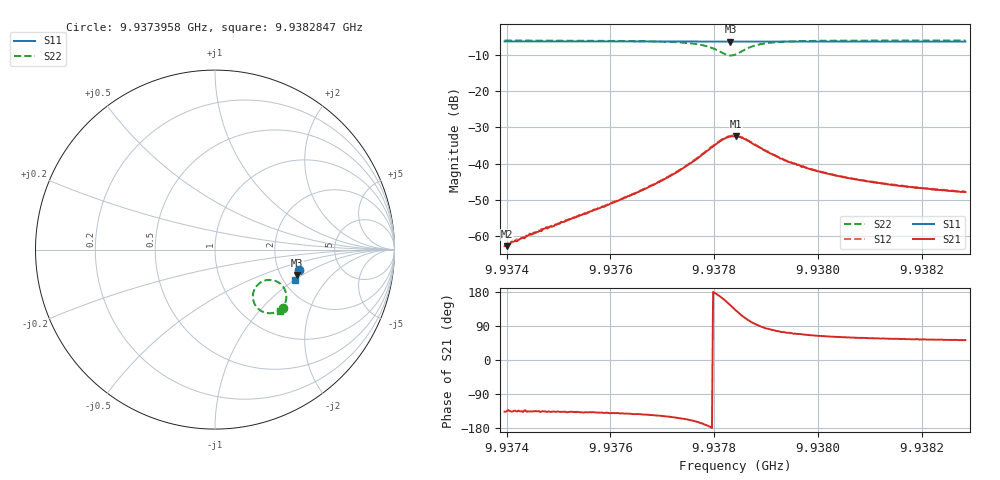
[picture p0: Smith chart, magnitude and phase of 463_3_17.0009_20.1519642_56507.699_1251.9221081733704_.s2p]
#  HZ  S  RI  R  50.00
! Rohde & Schwarz Vector Network Analyzer
! Rohde-Schwarz,ZNB20-2Port,1311601062101988,3.16
! Created: UTC 3/20/2024, 11:12:52 PM
! freq[Hz]  re:S11  im:S11  re:S21  im:S21  re:S12  im:S12  re:S22  im:S22
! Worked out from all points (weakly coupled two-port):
!   401 points, 9.9373958 GHz to 9.9382847 GHz, reference 50 ohm
!   highest |S21| = -32.41 dB at 9.9378425 GHz (marker M1); lowest = -62.7 dB at 9.9374003 GHz (marker M2)
!   lowest |S11| = -6.4 dB at 9.9378314 GHz (marker M3), VSWR 2.84, Z = 122 - j45.1 ohm
!   |S11| at or under -10 dB: nowhere
!   |S22| runs from -10.2 to -6.1 dB; largest |S21 - S12| = 0.0011
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9.93739585e9  0.4694 -0.1149  -0.00053 -0.000505  -0.000549 -0.000513  0.3778 -0.3232
9.93740029e9  0.4692 -0.1151  -0.000514 -0.000518  -0.000554 -0.000563  0.3774 -0.3236
9.93741362e9  0.4689 -0.1161  -0.000586 -0.000607  -0.000626 -0.000588  0.3763 -0.3245
9.93742251e9  0.4687 -0.1166  -0.000612 -0.000647  -0.000661 -0.000628  0.3756 -0.3252
9.93744918e9  0.4681 -0.1184  -0.000772 -0.000754  -0.000769 -0.000736  0.3732 -0.3272
9.93746695e9  0.4679 -0.1196  -0.000841 -0.000819  -0.000902 -0.000885  0.3714 -0.3288
9.93754472e9  0.4659 -0.1248  -0.00147 -0.00131  -0.00147 -0.00129  0.3625 -0.3356
9.93763583e9  0.4638 -0.131  -0.00279 -0.00222  -0.00288 -0.00216  0.346 -0.345
9.9376936e9  0.4624 -0.1347  -0.00463 -0.00305  -0.00481 -0.00302  0.3275 -0.3519
9.93773804e9  0.461 -0.1379  -0.00763 -0.00368  -0.00781 -0.00358  0.3013 -0.3545
9.93778248e9  0.4592 -0.1408  -0.014 -0.00229  -0.0144 -0.00214  0.2503 -0.3374
9.93781359e9  0.4575 -0.1421  -0.0201 0.00523  -0.0204 0.00593  0.2115 -0.2689
9.93783136e9  0.4569 -0.1422  -0.0192 0.0137  -0.0192 0.0145  0.2315 -0.2035
9.93784025e9  0.457 -0.1422  -0.0161 0.0173  -0.016 0.0182  0.2601 -0.1795
9.93784247e9  0.457 -0.1423  -0.0154 0.0184  -0.0152 0.0189  0.2683 -0.1755
9.93786692e9  0.4576 -0.1434  -0.00508 0.0198  -0.0044 0.02  0.3509 -0.1809
9.93789358e9  0.4578 -0.1455  0.000908 0.0157  0.00108 0.0161  0.3885 -0.2219
9.93794024e9  0.457 -0.149  0.00334 0.0103  0.00352 0.0104  0.3974 -0.2699
9.93798913e9  0.4559 -0.1525  0.00346 0.00748  0.00367 0.0075  0.392 -0.2947
9.93805801e9  0.4541 -0.1571  0.00322 0.00547  0.00331 0.00545  0.3835 -0.3131
9.938138e9  0.4519 -0.1625  0.00287 0.00429  0.00297 0.00427  0.3751 -0.3257
9.93828466e9  0.4478 -0.1717  0.00246 0.00323  0.00259 0.00322  0.3628 -0.3401
